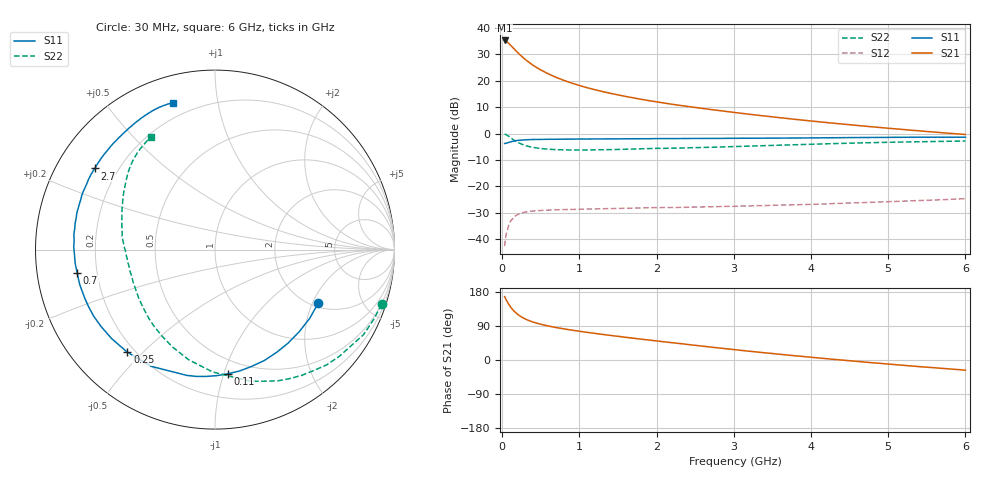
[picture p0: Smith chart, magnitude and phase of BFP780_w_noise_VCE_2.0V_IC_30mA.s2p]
! Infineon Technologies  Discrete & RF Semiconductors
! BFP780
! VCE =  2.0 V,  IC =  30 mA
! Common Emitter S-Parameters:  Jul 2015
# GHz  S  MA  R  50
!  f  S11  S21  S12  S22
! GHz  MAG  ANG  MAG  ANG  MAG  ANG  MAG  ANG
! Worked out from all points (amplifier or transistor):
!   75 points, 30 MHz to 6 GHz, reference 50 ohm
!   highest |S21| = 35.3 dB at 30 MHz (marker M1)
!   |S21| within 3 dB of that: start of sweep to 146.8 MHz
!   unconditionally stable (mu >= 1): 2.206 GHz to end of sweep
!   at 150 MHz: K = 0.10, MSG = 31.9 dB, |S12| = -31.6 dB
!   at 2.3 GHz: K = 1.03, MAG = 18.3 dB, |S12| = -28.0 dB
!   at 6 GHz: K = 1.46, MAG = 8.2 dB, |S12| = -24.7 dB
!   lowest NFmin = 1.09 dB at 450 MHz
!   S11 on the Smith chart (normalised r, x): 30 MHz: 2.15, -2.21; 110 MHz: 0.38, -1.03; 250 MHz: 0.17, -0.45; 700 MHz: 0.13, -0.08; 2.7 GHz: 0.12, +0.30; 6 GHz: 0.12, +0.74
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0.03  0.6478 -27.5  58.37 167.3  0.0073 78.4  0.9779 -18.2
0.05  0.6555 -44.3  56.29 158.9  0.0123 72.7  0.9536 -29.8
0.07  0.6678 -59.1  53.46 151.7  0.0154 63.8  0.913 -40.6
0.09  0.6822 -72.7  50.31 145.0  0.0193 56.8  0.8703 -50.7
0.11  0.6957 -84.1  46.96 139.1  0.0222 53.0  0.8304 -60.0
0.15  0.7183 -102.6  40.87 129.4  0.0264 43.8  0.7558 -75.5
0.2  0.7412 -118.7  34.32 120.3  0.029 35.9  0.6819 -91.1
0.25  0.7519 -130.5  29.29 113.4  0.0313 30.6  0.6312 -103.4
0.3  0.76 -139.3  25.28 108.0  0.0324 26.6  0.5924 -113.5
0.35  0.7661 -146.1  22.18 103.6  0.0333 24.0  0.5649 -121.6
0.4  0.771 -151.4  19.7 100.1  0.034 21.5  0.5461 -128.3
0.5  0.7746 -159.6  16.05 94.2  0.0347 17.9  0.5192 -138.8
0.7  0.7788 -170.5  11.6 85.5  0.0357 15.1  0.4946 -153.1
0.9  0.7834 -177.9  9.06 78.8  0.0363 13.1  0.4873 -162.5
1.1  0.7865 176.3  7.399 72.9  0.0369 12.2  0.488 -169.3
1.5  0.7929 167.2  5.403 62.5  0.0379 11.4  0.4992 -179.1
2.1  0.8021 156.0  3.784 47.9  0.0395 10.4  0.5235 170.5
2.7  0.8081 146.0  2.858 34.1  0.0408 10.5  0.5491 160.8
3.1  0.8143 139.7  2.419 25.3  0.0421 10.8  0.5719 154.6
4.1  0.8289 125.5  1.675 5.3  0.0459 11.2  0.632 141.2
5.1  0.8486 114.2  1.226 -12.4  0.0516 10.0  0.6864 129.8
6  0.8524 106.1  0.96 -26.8  0.0583 7.5  0.7218 119.6
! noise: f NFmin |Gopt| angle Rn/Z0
0.45  1.09  0.15  163  0.07
0.9  1.14  0.23  176  0.07
1.5  1.22  0.31  -170  0.07
1.8  1.4  0.36  -164  0.07
2.4  1.56  0.42  -151  0.09
3  1.83  0.47  -139  0.13
3.5  2.38  0.51  -127  0.21
